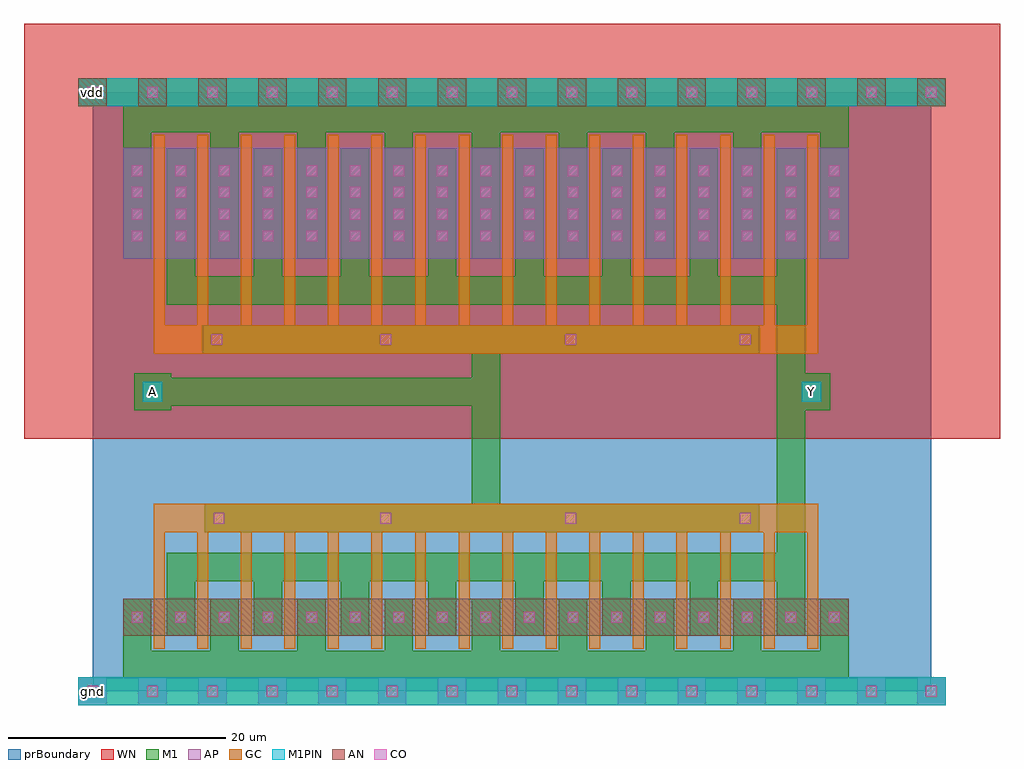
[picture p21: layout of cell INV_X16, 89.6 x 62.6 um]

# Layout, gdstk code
import gdstk
lib = gdstk.Library(unit=1e-6, precision=1e-09)
def R(c, l, rs):  # rectangles x0, y0, x1, y1
    for r in rs: c.add(gdstk.rectangle(r[:2], r[2:], *l))
def A(c, l, x, y, w, h, nx, ny, dx, dy):  # array of equal rectangles
    R(c, l, [(x+i*dx, y+j*dy, x+i*dx+w, y+j*dy+h) for i in range(nx) for j in range(ny)])
def P(c, l, *ps):  # polygons
    for p in ps: c.add(gdstk.Polygon(p, *l))
AP = (3, 1)
AN = (3, 2)
GC = (8, 1)
CO = (11, 0)
M1 = (13, 0)
M1PIN = (48, 1)
WN = (140, 0)
prBoundary = (235, 0)

inv_x16 = lib.new_cell('INV_X16')
A(inv_x16, AP, -1.3, -1.3, 2.6, 2.6, 15, 1, 5.5, 0)
R(inv_x16, AP, [(2.8,39.7,69.4,49.9), (2.8,39.7,69.4,49.9)])
A(inv_x16, AN, -1.3, 53.7, 2.6, 2.6, 15, 1, 5.5, 0)
R(inv_x16, AN, [(2.8,5.1,69.4,8.5)])
P(inv_x16, GC, [(5.6,3.9),(5.6,17.2),(66.6,17.2),(66.6,3.9),(65.6,3.9),(65.6,14.6),(62.6,14.6),(62.6,3.9),(61.6,3.9),(61.6,14.6),(58.6,14.6),(58.6,3.9),(57.6,3.9),(57.6,14.6),(54.6,14.6),(54.6,3.9),(53.6,3.9),(53.6,14.6),(50.6,14.6),(50.6,3.9),(49.6,3.9),(49.6,14.6),(46.6,14.6),(46.6,3.9),(45.6,3.9),(45.6,14.6),(42.6,14.6),(42.6,3.9),(41.6,3.9),(41.6,14.6),(38.6,14.6),(38.6,3.9),(37.6,3.9),(37.6,14.6),(34.6,14.6),(34.6,3.9),(33.6,3.9),(33.6,14.6),(30.6,14.6),(30.6,3.9),(29.6,3.9),(29.6,14.6),(26.6,14.6),(26.6,3.9),(25.6,3.9),(25.6,14.6),(22.6,14.6),(22.6,3.9),(21.6,3.9),(21.6,14.6),(18.6,14.6),(18.6,3.9),(17.6,3.9),(17.6,14.6),(14.6,14.6),(14.6,3.9),(13.6,3.9),(13.6,14.6),(10.6,14.6),(10.6,3.9),(9.6,3.9),(9.6,14.6),(6.6,14.6),(6.6,3.9)],
  [(5.6,31),(5.6,51.1),(6.6,51.1),(6.6,33.6),(9.6,33.6),(9.6,51.1),(10.6,51.1),(10.6,33.6),(13.6,33.6),(13.6,51.1),(14.6,51.1),(14.6,33.6),(17.6,33.6),(17.6,51.1),(18.6,51.1),(18.6,33.6),(21.6,33.6),(21.6,51.1),(22.6,51.1),(22.6,33.6),(25.6,33.6),(25.6,51.1),(26.6,51.1),(26.6,33.6),(29.6,33.6),(29.6,51.1),(30.6,51.1),(30.6,33.6),(33.6,33.6),(33.6,51.1),(34.6,51.1),(34.6,33.6),(37.6,33.6),(37.6,51.1),(38.6,51.1),(38.6,33.6),(41.6,33.6),(41.6,51.1),(42.6,51.1),(42.6,33.6),(45.6,33.6),(45.6,51.1),(46.6,51.1),(46.6,33.6),(49.6,33.6),(49.6,51.1),(50.6,51.1),(50.6,33.6),(53.6,33.6),(53.6,51.1),(54.6,51.1),(54.6,33.6),(57.6,33.6),(57.6,51.1),(58.6,51.1),(58.6,33.6),(61.6,33.6),(61.6,51.1),(62.6,51.1),(62.6,33.6),(65.6,33.6),(65.6,51.1),(66.6,51.1),(66.6,31)])
A(inv_x16, CO, -0.5, -0.5, 1, 1, 15, 2, 5.5, 55)
A(inv_x16, CO, 3.6, 6.3, 1, 1, 17, 2, 4, 35)
A(inv_x16, CO, 3.6, 43.3, 1, 1, 17, 3, 4, 2)
R(inv_x16, CO, [(11.1,15.4,12.1,16.4), (26.4,15.4,27.4,16.4), (43.4,15.4,44.4,16.4), (59.4,15.4,60.4,16.4), (10.9,31.8,11.9,32.8), (26.4,31.8,27.4,32.8), (43.4,31.8,44.4,32.8), (59.4,31.8,60.4,32.8)])
P(inv_x16, M1, [(-1.3,-1.3),(-1.3,1.3),(2.8,1.3),(2.8,8.5),(5.4,8.5),(5.4,3.7),(10.8,3.7),(10.8,8.5),(13.4,8.5),(13.4,3.7),(18.8,3.7),(18.8,8.5),(21.4,8.5),(21.4,3.7),(26.8,3.7),(26.8,8.5),(29.4,8.5),(29.4,3.7),(34.8,3.7),(34.8,8.5),(37.4,8.5),(37.4,3.7),(42.8,3.7),(42.8,8.5),(45.4,8.5),(45.4,3.7),(50.8,3.7),(50.8,8.5),(53.4,8.5),(53.4,3.7),(58.8,3.7),(58.8,8.5),(61.4,8.5),(61.4,3.7),(66.8,3.7),(66.8,8.5),(69.4,8.5),(69.4,1.3),(78.3,1.3),(78.3,-1.3)],
  [(10.3,14.6),(10.3,17.2),(34.8,17.2),(34.8,26.2),(7.2,26.2),(7.2,25.8),(3.8,25.8),(3.8,29.2),(7.2,29.2),(7.2,28.8),(34.8,28.8),(34.8,31),(10.1,31),(10.1,33.6),(61.2,33.6),(61.2,31),(37.4,31),(37.4,17.2),(61.2,17.2),(61.2,14.6)],
  [(6.8,5.1),(6.8,12.7),(62.8,12.7),(62.8,35.5),(6.8,35.5),(6.8,49.9),(9.4,49.9),(9.4,38.1),(14.8,38.1),(14.8,49.9),(17.4,49.9),(17.4,38.1),(22.8,38.1),(22.8,49.9),(25.4,49.9),(25.4,38.1),(30.8,38.1),(30.8,49.9),(33.4,49.9),(33.4,38.1),(38.8,38.1),(38.8,49.9),(41.4,49.9),(41.4,38.1),(46.8,38.1),(46.8,49.9),(49.4,49.9),(49.4,38.1),(54.8,38.1),(54.8,49.9),(57.4,49.9),(57.4,38.1),(62.8,38.1),(62.8,49.9),(65.4,49.9),(65.4,29.2),(67.7,29.2),(67.7,25.8),(65.4,25.8),(65.4,5.1),(62.8,5.1),(62.8,10.1),(57.4,10.1),(57.4,5.1),(54.8,5.1),(54.8,10.1),(49.4,10.1),(49.4,5.1),(46.8,5.1),(46.8,10.1),(41.4,10.1),(41.4,5.1),(38.8,5.1),(38.8,10.1),(33.4,10.1),(33.4,5.1),(30.8,5.1),(30.8,10.1),(25.4,10.1),(25.4,5.1),(22.8,5.1),(22.8,10.1),(17.4,10.1),(17.4,5.1),(14.8,5.1),(14.8,10.1),(9.4,10.1),(9.4,5.1)],
  [(2.8,39.7),(2.8,53.7),(-1.3,53.7),(-1.3,56.3),(78.3,56.3),(78.3,53.7),(69.4,53.7),(69.4,39.7),(66.8,39.7),(66.8,51.3),(61.4,51.3),(61.4,39.7),(58.8,39.7),(58.8,51.3),(53.4,51.3),(53.4,39.7),(50.8,39.7),(50.8,51.3),(45.4,51.3),(45.4,39.7),(42.8,39.7),(42.8,51.3),(37.4,51.3),(37.4,39.7),(34.8,39.7),(34.8,51.3),(29.4,51.3),(29.4,39.7),(26.8,39.7),(26.8,51.3),(21.4,51.3),(21.4,39.7),(18.8,39.7),(18.8,51.3),(13.4,51.3),(13.4,39.7),(10.8,39.7),(10.8,51.3),(5.4,51.3),(5.4,39.7)])
R(inv_x16, M1PIN, [(-1.3,-1.3,78.3,1.3), (4.6,26.6,6.4,28.4), (65.1,26.6,66.9,28.4), (-1.3,53.7,78.3,56.3)])
R(inv_x16, WN, [(-6.3,23.2,83.3,61.3)])
R(inv_x16, prBoundary, [(0,0,77,55)])
inv_x16.add(gdstk.Label('Y', (66,27.5), layer=48, texttype=0))
inv_x16.add(gdstk.Label('A', (5.5,27.5), layer=48, texttype=0))
inv_x16.add(gdstk.Label('vdd', (0,55), layer=48, texttype=0))
inv_x16.add(gdstk.Label('gnd', (0,0), layer=48, texttype=0))

lib.write_gds('INV_X16.gds')
